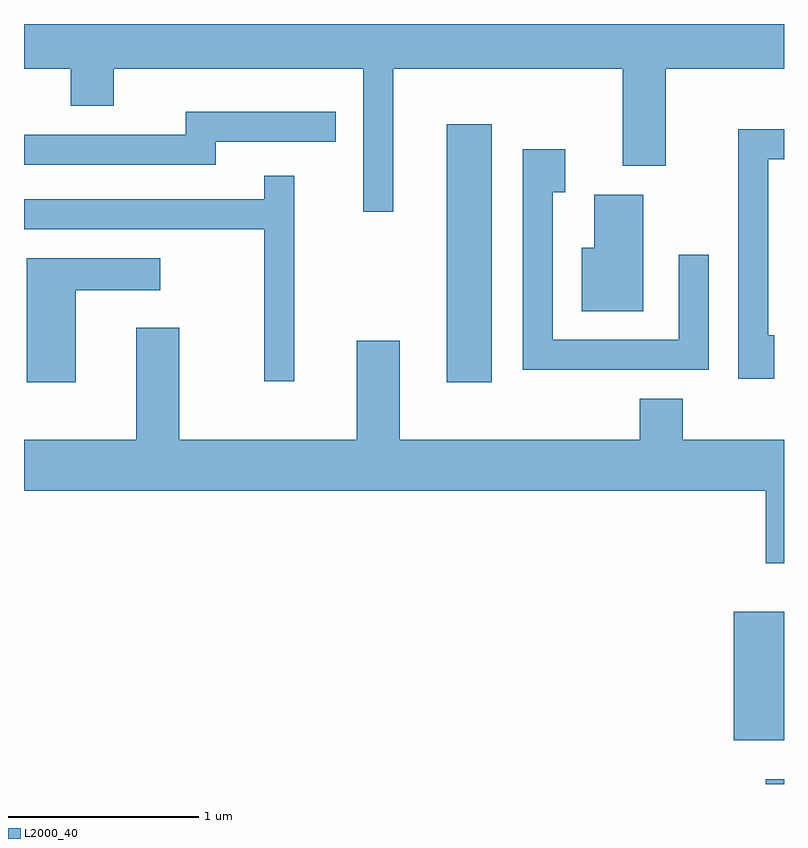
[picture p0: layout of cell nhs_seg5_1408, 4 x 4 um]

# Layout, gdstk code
import gdstk
lib = gdstk.Library(unit=1e-6, precision=1e-09)
def R(c, l, rs):  # rectangles x0, y0, x1, y1
    for r in rs: c.add(gdstk.rectangle(r[:2], r[2:], *l))
def P(c, l, *ps):  # polygons
    for p in ps: c.add(gdstk.Polygon(p, *l))
L2000_40 = (2000, 40)

nhs_seg5_1408 = lib.new_cell('nhs_seg5_1408')
R(nhs_seg5_1408, L2000_40, [(229.516,1524.072,229.611,1524.098), (229.346,1524.301,229.611,1524.979), (227.836,1526.186,228.074,1527.544)])
P(nhs_seg5_1408, L2000_40, [(227.554,1527.836),(228.761,1527.836),(228.761,1527.326),(228.989,1527.326),(228.989,1527.836),(229.611,1527.836),(229.611,1528.072),(225.611,1528.072),(225.611,1527.836),(225.856,1527.836),(225.856,1527.641),(226.084,1527.641),(226.084,1527.836),(227.396,1527.836),(227.396,1527.083),(227.554,1527.083)],
  [(226.619,1527.451),(227.253,1527.451),(227.253,1527.609),(226.461,1527.609),(226.461,1527.489),(225.611,1527.489),(225.611,1527.331),(226.619,1527.331)],
  [(229.559,1526.434),(229.529,1526.434),(229.529,1527.361),(229.611,1527.361),(229.611,1527.519),(229.371,1527.519),(229.371,1526.206),(229.559,1526.206)],
  [(229.214,1526.858),(229.056,1526.858),(229.056,1526.409),(228.394,1526.409),(228.394,1527.186),(228.459,1527.186),(228.459,1527.414),(228.236,1527.414),(228.236,1526.251),(229.214,1526.251)],
  [(227.034,1527.273),(226.876,1527.273),(226.876,1527.149),(225.611,1527.149),(225.611,1526.991),(226.876,1526.991),(226.876,1526.193),(227.034,1526.193)],
  [(228.869,1527.174),(228.611,1527.174),(228.611,1526.894),(228.546,1526.894),(228.546,1526.561),(228.869,1526.561)],
  [(225.884,1526.671),(226.328,1526.671),(226.328,1526.839),(225.626,1526.839),(225.626,1526.186),(225.884,1526.186)],
  [(229.611,1525.884),(229.079,1525.884),(229.079,1526.099),(228.851,1526.099),(228.851,1525.884),(227.589,1525.884),(227.589,1526.404),(227.361,1526.404),(227.361,1525.884),(226.429,1525.884),(226.429,1526.474),(226.201,1526.474),(226.201,1525.884),(225.611,1525.884),(225.611,1525.616),(229.516,1525.616),(229.516,1525.233),(229.611,1525.233)])

lib.write_gds('nhs_seg5_1408.gds')
